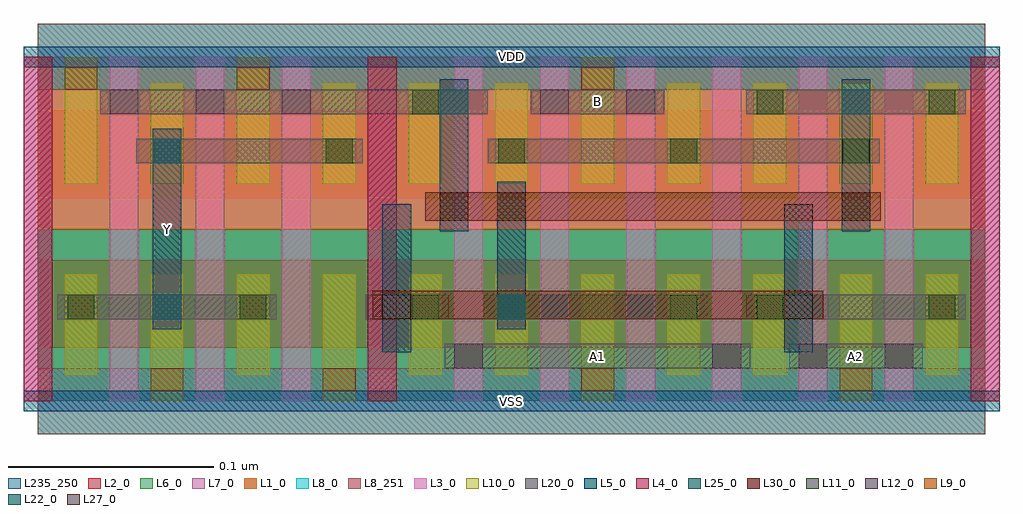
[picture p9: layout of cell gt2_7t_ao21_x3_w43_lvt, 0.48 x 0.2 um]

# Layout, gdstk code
import gdstk
lib = gdstk.Library(unit=1e-6, precision=5e-10)
def R(c, l, rs):  # rectangles x0, y0, x1, y1
    for r in rs: c.add(gdstk.rectangle(r[:2], r[2:], *l))
def A(c, l, x, y, w, h, nx, ny, dx, dy):  # array of equal rectangles
    R(c, l, [(x+i*dx, y+j*dy, x+i*dx+w, y+j*dy+h) for i in range(nx) for j in range(ny)])
L1_0 = (1, 0)
L2_0 = (2, 0)
L3_0 = (3, 0)
L4_0 = (4, 0)
L5_0 = (5, 0)
L6_0 = (6, 0)
L7_0 = (7, 0)
L8_0 = (8, 0)
L8_251 = (8, 251)
L9_0 = (9, 0)
L10_0 = (10, 0)
L11_0 = (11, 0)
L12_0 = (12, 0)
L20_0 = (20, 0)
L22_0 = (22, 0)
L25_0 = (25, 0)
L27_0 = (27, 0)
L30_0 = (30, 0)
L235_250 = (235, 250)

gt2_7t_ao21_x3_w43_lvt = lib.new_cell('gt2_7t_ao21_x3_w43_lvt')
R(gt2_7t_ao21_x3_w43_lvt, L1_0, [(0,0.084,0.462,0.168)])
R(gt2_7t_ao21_x3_w43_lvt, L2_0, [(0,0.026,0.462,0.069), (0,0.099,0.462,0.142)])
A(gt2_7t_ao21_x3_w43_lvt, L3_0, -0.007, 0, 0.014, 0.168, 12, 1, 0.042, 0)
R(gt2_7t_ao21_x3_w43_lvt, L4_0, [(-0.007,0,0.007,0.168), (0.161,0,0.175,0.168), (0.455,0,0.469,0.168)])
R(gt2_7t_ao21_x3_w43_lvt, L5_0, [(-0.007,-0.005,0.469,0.005), (-0.007,0.163,0.469,0.173)])
R(gt2_7t_ao21_x3_w43_lvt, L6_0, [(0,0,0.462,0.084)])
R(gt2_7t_ao21_x3_w43_lvt, L7_0, [(0,0.084,0.462,0.168)])
R(gt2_7t_ao21_x3_w43_lvt, L8_0, [(0,-0.016,0.462,0.016), (0,0.152,0.462,0.184)])
R(gt2_7t_ao21_x3_w43_lvt, L8_251, [(0,-0.016,0.462,0.016), (0,0.152,0.462,0.184)])
A(gt2_7t_ao21_x3_w43_lvt, L9_0, 0.139, 0.005, 0.016, 0.011, 3, 1, 0.126, 0)
R(gt2_7t_ao21_x3_w43_lvt, L9_0, [(0.055,0.005,0.071,0.016), (0.013,0.152,0.029,0.163), (0.097,0.152,0.113,0.163), (0.265,0.152,0.281,0.163)])
A(gt2_7t_ao21_x3_w43_lvt, L10_0, 0.139, 0, 0.016, 0.062, 3, 1, 0.126, 0)
A(gt2_7t_ao21_x3_w43_lvt, L10_0, 0.013, 0.013, 0.016, 0.049, 3, 1, 0.084, 0)
A(gt2_7t_ao21_x3_w43_lvt, L10_0, 0.139, 0.106, 0.016, 0.049, 3, 1, 0.042, 0)
A(gt2_7t_ao21_x3_w43_lvt, L10_0, 0.307, 0.106, 0.016, 0.049, 4, 1, 0.042, 0)
R(gt2_7t_ao21_x3_w43_lvt, L10_0, [(0.055,0,0.071,0.062), (0.223,0.013,0.239,0.062), (0.307,0.013,0.323,0.062), (0.349,0.013,0.365,0.062), (0.433,0.013,0.449,0.062), (0.013,0.106,0.029,0.168), (0.055,0.106,0.071,0.155), (0.097,0.106,0.113,0.168), (0.265,0.106,0.281,0.168)])
A(gt2_7t_ao21_x3_w43_lvt, L11_0, 0.0145, 0.04, 0.013, 0.012, 3, 1, 0.084, 0)
A(gt2_7t_ao21_x3_w43_lvt, L11_0, 0.0565, 0.116, 0.013, 0.012, 5, 1, 0.084, 0)
R(gt2_7t_ao21_x3_w43_lvt, L11_0, [(0.2245,0.04,0.2375,0.052), (0.3085,0.04,0.3215,0.052), (0.3505,0.04,0.3635,0.052), (0.4345,0.04,0.4475,0.052), (0.1825,0.14,0.1955,0.152), (0.3505,0.14,0.3635,0.152), (0.4345,0.14,0.4475,0.152)])
A(gt2_7t_ao21_x3_w43_lvt, L12_0, 0.329, 0.016, 0.014, 0.012, 3, 1, 0.042, 0)
A(gt2_7t_ao21_x3_w43_lvt, L12_0, 0.035, 0.14, 0.014, 0.012, 3, 1, 0.042, 0)
R(gt2_7t_ao21_x3_w43_lvt, L12_0, [(0.203,0.016,0.217,0.028), (0.245,0.14,0.259,0.152), (0.287,0.14,0.301,0.152)])
R(gt2_7t_ao21_x3_w43_lvt, L20_0, [(0.1985,0.016,0.3475,0.028), (0.3665,0.016,0.4315,0.028), (0.0095,0.04,0.1165,0.052), (0.16,0.04,0.2005,0.052), (0.2175,0.04,0.3265,0.052), (0.3455,0.04,0.4525,0.052), (0.048,0.116,0.1585,0.128), (0.2195,0.116,0.4105,0.128), (0.0305,0.14,0.2195,0.152), (0.2405,0.14,0.3055,0.152), (0.3455,0.14,0.4525,0.152)])
R(gt2_7t_ao21_x3_w43_lvt, L22_0, [(0.056,0.04,0.07,0.052), (0.168,0.04,0.182,0.052), (0.224,0.04,0.238,0.052), (0.364,0.04,0.378,0.052), (0.056,0.116,0.07,0.128), (0.196,0.14,0.21,0.152), (0.392,0.14,0.406,0.152)])
R(gt2_7t_ao21_x3_w43_lvt, L25_0, [(0.168,0.024,0.182,0.096), (0.364,0.024,0.378,0.096), (0.056,0.035,0.07,0.133), (0.224,0.035,0.238,0.107), (0.196,0.083,0.21,0.157), (0.392,0.083,0.406,0.157)])
R(gt2_7t_ao21_x3_w43_lvt, L27_0, [(0.168,0.04,0.182,0.054), (0.364,0.04,0.378,0.054), (0.196,0.088,0.21,0.102), (0.224,0.088,0.238,0.102), (0.392,0.088,0.406,0.102)])
R(gt2_7t_ao21_x3_w43_lvt, L30_0, [(0.163,0.04,0.383,0.054), (0.189,0.088,0.411,0.102)])
R(gt2_7t_ao21_x3_w43_lvt, L235_250, [(0,0,0.462,0.168)])
gt2_7t_ao21_x3_w43_lvt.add(gdstk.Label('VSS', (0.231,0), layer=8, texttype=251))
gt2_7t_ao21_x3_w43_lvt.add(gdstk.Label('VDD', (0.231,0.168), layer=8, texttype=251))
gt2_7t_ao21_x3_w43_lvt.add(gdstk.Label('A2', (0.399,0.022), layer=20, texttype=251))
gt2_7t_ao21_x3_w43_lvt.add(gdstk.Label('B', (0.273,0.146), layer=20, texttype=251))
gt2_7t_ao21_x3_w43_lvt.add(gdstk.Label('A1', (0.273,0.022), layer=20, texttype=251))
gt2_7t_ao21_x3_w43_lvt.add(gdstk.Label('Y', (0.063,0.084), layer=25, texttype=251))

lib.write_gds('gt2_7t_ao21_x3_w43_lvt.gds')
